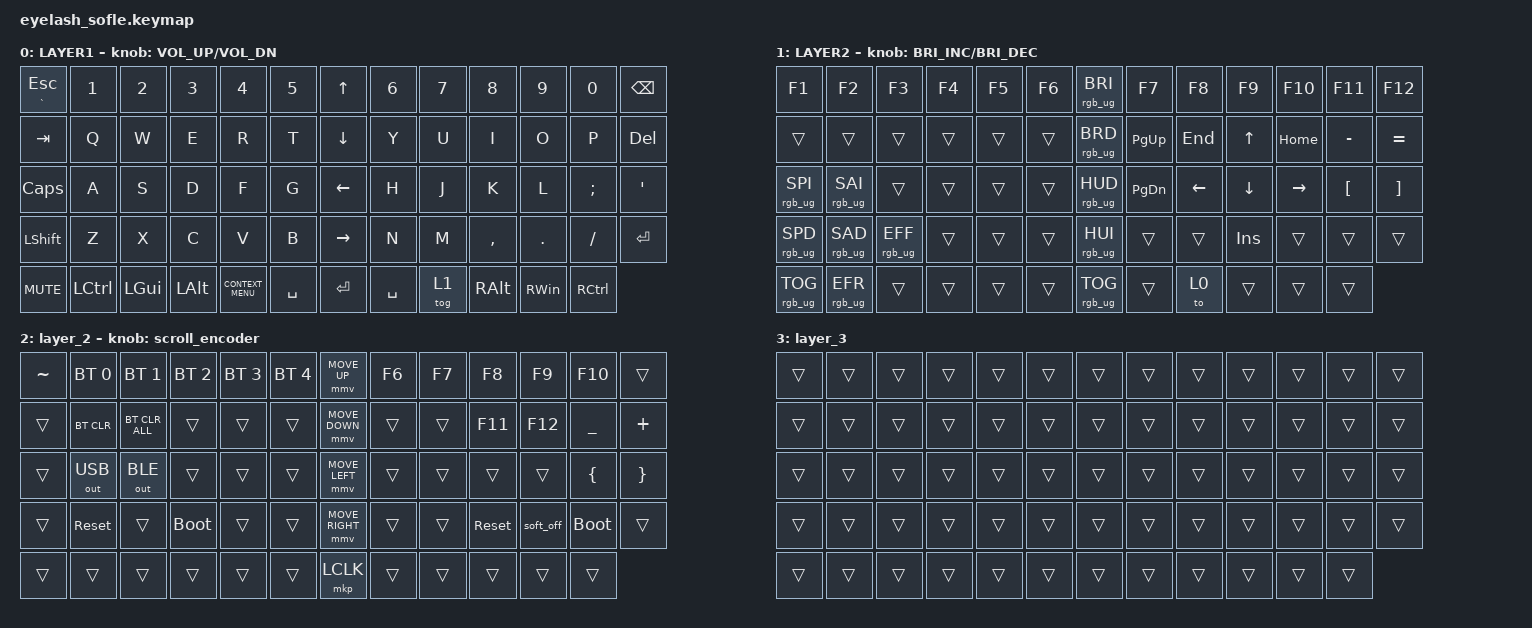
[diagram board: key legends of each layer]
#include <dt-bindings/zmk/mouse.h>
#include <input/processors.dtsi>
#include <behaviors.dtsi>
#include <dt-bindings/zmk/bt.h>
#include <dt-bindings/zmk/keys.h>
#include <dt-bindings/zmk/outputs.h>
#include <dt-bindings/zmk/pointing.h>
#include <dt-bindings/zmk/rgb.h>

/*

   &mmv_input_listener {
       input-processors = <&zip_xy_scaler 2 1>;
   };

   &msc_input_listener {
       input-processors = <&zip_xy_scaler 2 1>;
   };

 */

#define ZMK_MOUSE_DEFAULT_MOVE_VAL 1200  // 600
#define ZMK_MOUSE_DEFAULT_SCRL_VAL 20    // 10

/ {
    behaviors {
        mmv {
            acceleration-exponent = <1>;      // 1
            time-to-max-speed-ms = <900>;    // 40
            delay-ms = <0>;                   // 0
        };

        msc {
            acceleration-exponent = <1>;      // 0
            time-to-max-speed-ms = <400>;      // 500
            delay-ms = <0>;                   //   10
        };
    };

    scroll_encoder: scroll_encoder {
        compatible = "zmk,behavior-sensor-rotate";
        #sensor-binding-cells = <0>;
        bindings = <&msc SCRL_DOWN>, <&msc SCRL_UP>;

        tap-ms = <30>;
    };

    keymap {
        compatible = "zmk,keymap";

        LAYER1 {
            bindings = <
&mt GRAVE ESCAPE  &kp N1     &kp N2        &kp N3        &kp N4              &kp N5       &kp UP_ARROW     &kp N6     &kp N7  &kp N8         &kp N9         &kp N0             &kp BACKSPACE
&kp TAB           &kp Q      &kp W         &kp E         &kp R               &kp T        &kp DOWN_ARROW   &kp Y      &kp U   &kp I          &kp O          &kp P              &kp DEL
&kp CAPS          &kp A      &kp S         &kp D         &kp F               &kp G        &kp LEFT_ARROW   &kp H      &kp J   &kp K          &kp L          &kp SEMI           &kp APOS
&kp LSHFT         &kp Z      &kp X         &kp C         &kp V               &kp B        &kp RIGHT_ARROW  &kp N      &kp M   &kp COMMA      &kp DOT        &kp FSLH           &kp ENTER
&kp C_MUTE        &kp LCTRL  &kp LEFT_GUI  &kp LEFT_ALT  &kp K_CONTEXT_MENU  &kp SPACE    &kp ENTER        &kp SPACE  &tog 1  &kp RIGHT_ALT  &kp RIGHT_WIN  &kp RIGHT_CONTROL
            >;

            sensor-bindings = <&inc_dec_kp C_VOLUME_UP C_VOL_DN>;
            display-name = "LAYER1";
        };

        LAYER2 {
            bindings = <
&kp F1           &kp F2           &kp F3           &kp F4  &kp F5  &kp F6    &rgb_ug RGB_BRI  &kp F7     &kp F8    &kp F9      &kp F10    &kp F11           &kp F12
&trans           &trans           &trans           &trans  &trans  &trans    &rgb_ug RGB_BRD  &kp PG_UP  &kp END   &kp UP      &kp HOME   &kp MINUS         &kp EQUAL
&rgb_ug RGB_SPI  &rgb_ug RGB_SAI  &trans           &trans  &trans  &trans    &rgb_ug RGB_HUD  &kp PG_DN  &kp LEFT  &kp DOWN    &kp RIGHT  &kp LEFT_BRACKET  &kp RIGHT_BRACKET
&rgb_ug RGB_SPD  &rgb_ug RGB_SAD  &rgb_ug RGB_EFF  &trans  &trans  &trans    &rgb_ug RGB_HUI  &trans     &trans    &kp INSERT  &trans     &trans            &trans
&rgb_ug RGB_TOG  &rgb_ug RGB_EFR  &trans           &trans  &trans  &trans    &rgb_ug RGB_TOG  &trans     &to 0     &trans      &trans     &trans
            >;

            display-name = "LAYER2";
            sensor-bindings = <&inc_dec_kp C_BRI_INC C_BRI_DEC>;
        };

        layer_2 {
            bindings = <
&kp TILDE  &bt BT_SEL 0  &bt BT_SEL 1    &bt BT_SEL 2  &bt BT_SEL 3  &bt BT_SEL 4    &mmv MOVE_UP     &kp F6  &kp F7  &kp F8      &kp F9     &kp F10      &trans
&trans     &bt BT_CLR    &bt BT_CLR_ALL  &trans        &trans        &trans          &mmv MOVE_DOWN   &trans  &trans  &kp F11     &kp F12    &kp UNDER    &kp PLUS
&trans     &out OUT_USB  &out OUT_BLE    &trans        &trans        &trans          &mmv MOVE_LEFT   &trans  &trans  &trans      &trans     &kp LBRC     &kp RBRC
&trans     &sys_reset    &trans          &bootloader   &trans        &trans          &mmv MOVE_RIGHT  &trans  &trans  &sys_reset  &soft_off  &bootloader  &trans
&trans     &trans        &trans          &trans        &trans        &trans          &mkp LCLK        &trans  &trans  &trans      &trans     &trans
            >;

            sensor-bindings = <&scroll_encoder>;
        };

        layer_3 {
            bindings = <
&trans  &trans  &trans  &trans  &trans  &trans    &trans  &trans  &trans  &trans  &trans  &trans  &trans
&trans  &trans  &trans  &trans  &trans  &trans    &trans  &trans  &trans  &trans  &trans  &trans  &trans
&trans  &trans  &trans  &trans  &trans  &trans    &trans  &trans  &trans  &trans  &trans  &trans  &trans
&trans  &trans  &trans  &trans  &trans  &trans    &trans  &trans  &trans  &trans  &trans  &trans  &trans
&trans  &trans  &trans  &trans  &trans  &trans    &trans  &trans  &trans  &trans  &trans  &trans
            >;
        };
    };
};
